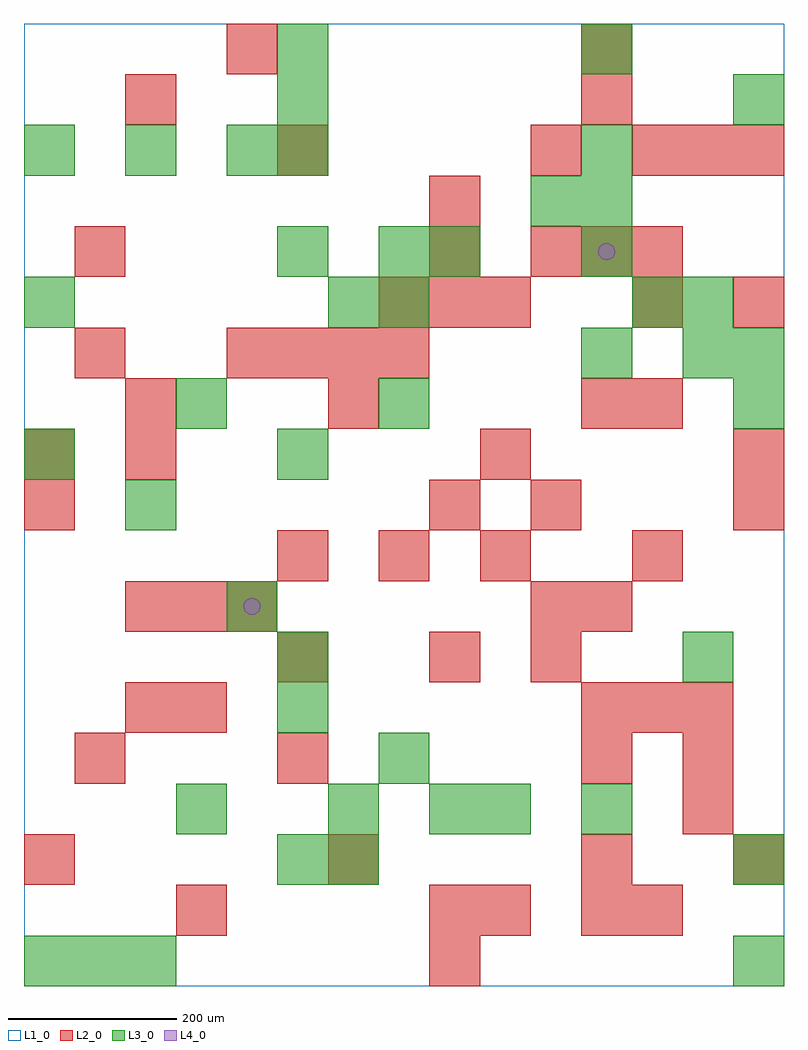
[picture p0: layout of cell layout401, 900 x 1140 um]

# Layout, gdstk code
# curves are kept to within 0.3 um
import gdstk
lib = gdstk.Library(unit=1e-6, precision=1e-09)
def R(c, l, rs):  # rectangles x0, y0, x1, y1
    for r in rs: c.add(gdstk.rectangle(r[:2], r[2:], *l))
def A(c, l, x, y, w, h, nx, ny, dx, dy):  # array of equal rectangles
    R(c, l, [(x+i*dx, y+j*dy, x+i*dx+w, y+j*dy+h) for i in range(nx) for j in range(ny)])
def P(c, l, *ps):  # polygons
    for p in ps: c.add(gdstk.Polygon(p, *l))
L1_0 = (1, 0)
L2_0 = (2, 0)
L3_0 = (3, 0)
L4_0 = (4, 0)

layout401 = lib.new_cell('layout401')
R(layout401, L1_0, [(0,0,900,1140)])
A(layout401, L2_0, 660, 300, 60, 60, 3, 1, 60, 0)
A(layout401, L2_0, 120, 420, 60, 60, 3, 1, 60, 0)
A(layout401, L2_0, 300, 480, 60, 60, 3, 1, 120, 0)
A(layout401, L2_0, 240, 720, 60, 60, 4, 1, 60, 0)
A(layout401, L2_0, 420, 780, 60, 60, 3, 1, 60, 0)
A(layout401, L2_0, 600, 840, 60, 60, 3, 1, 60, 0)
A(layout401, L2_0, 720, 960, 60, 60, 3, 1, 60, 0)
R(layout401, L2_0, [(480,0,540,60), (180,60,240,120), (480,60,540,120), (540,60,600,120), (660,60,720,120), (720,60,780,120), (0,120,60,180), (360,120,420,180), (660,120,720,180), (840,120,900,180), (780,180,840,240), (60,240,120,300), (300,240,360,300), (660,240,720,300), (780,240,840,300), (120,300,180,360), (180,300,240,360), (300,360,360,420), (480,360,540,420), (600,360,660,420), (600,420,660,480), (660,420,720,480), (720,480,780,540), (0,540,60,600), (480,540,540,600), (600,540,660,600), (840,540,900,600), (0,600,60,660), (120,600,180,660), (540,600,600,660), (840,600,900,660), (120,660,180,720), (360,660,420,720), (660,660,720,720), (720,660,780,720), (60,720,120,780), (720,780,780,840), (840,780,900,840), (60,840,120,900), (480,840,540,900), (480,900,540,960), (300,960,360,1020), (600,960,660,1020), (120,1020,180,1080), (660,1020,720,1080), (240,1080,300,1140), (660,1080,720,1140)])
A(layout401, L3_0, 0, 0, 60, 60, 3, 1, 60, 0)
A(layout401, L3_0, 300, 360, 60, 60, 1, 3, 0, 240)
A(layout401, L3_0, 660, 840, 60, 60, 1, 3, 0, 60)
A(layout401, L3_0, 0, 960, 60, 60, 3, 1, 120, 0)
A(layout401, L3_0, 300, 960, 60, 60, 1, 3, 0, 60)
R(layout401, L3_0, [(840,0,900,60), (300,120,360,180), (360,120,420,180), (840,120,900,180), (180,180,240,240), (360,180,420,240), (480,180,540,240), (540,180,600,240), (660,180,720,240), (420,240,480,300), (300,300,360,360), (780,360,840,420), (240,420,300,480), (120,540,180,600), (0,600,60,660), (180,660,240,720), (420,660,480,720), (840,660,900,720), (660,720,720,780), (780,720,840,780), (840,720,900,780), (0,780,60,840), (360,780,420,840), (420,780,480,840), (720,780,780,840), (780,780,840,840), (420,840,480,900), (480,840,540,900), (600,900,660,960), (840,1020,900,1080), (660,1080,720,1140)])
P(layout401, L4_0, [(280,450),(279.239,453.827),(277.071,457.071),(273.827,459.239),(270,460),(266.173,459.239),(262.929,457.071),(260.761,453.827),(260,450),(260.761,446.173),(262.929,442.929),(266.173,440.761),(270,440),(273.827,440.761),(277.071,442.929),(279.239,446.173)],
  [(700,870),(699.239,873.827),(697.071,877.071),(693.827,879.239),(690,880),(686.173,879.239),(682.929,877.071),(680.761,873.827),(680,870),(680.761,866.173),(682.929,862.929),(686.173,860.761),(690,860),(693.827,860.761),(697.071,862.929),(699.239,866.173)])

lib.write_gds('layout401.gds')
